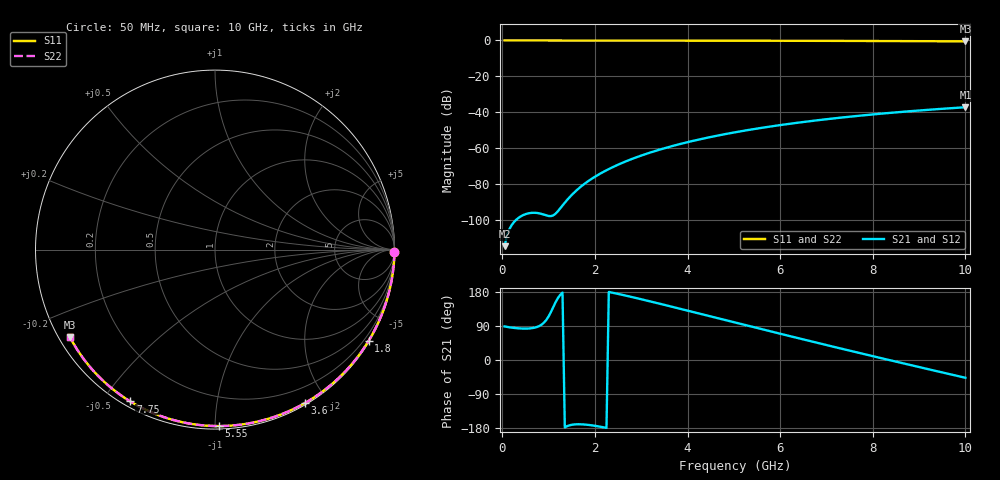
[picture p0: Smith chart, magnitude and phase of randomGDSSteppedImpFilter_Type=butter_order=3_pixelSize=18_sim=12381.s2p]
! freq	dB(S11)	phase(S11)	dB(S12)	phase(S12)
!  dB(S21)	phase(S21)	dB(S22)	phase(S22)
!S-par simulation data
#  GHz  S  DB  R 50
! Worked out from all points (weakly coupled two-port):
!   200 points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, 50 MHz to 10 GHz, reference 50 ohm
!   highest |S21| = -37.19 dB at 10 GHz (marker M1); lowest = -114.5 dB at 50 MHz (marker M2)
!   lowest |S11| = -0.5 dB at 10 GHz (marker M3), VSWR 34.68, Z = 1.55 - j13.9 ohm
!   |S11| at or under -10 dB: nowhere
!   |S22| runs from -0.5 to 0.0 dB; largest |S21 - S12| = 0
!   S11 on the Smith chart (normalised r, x): 50 MHz: open; 1.8 GHz: 0.03, -3.65; 3.6 GHz: 0.02, -1.74; 5.55 GHz: 0.02, -1.02; 7.75 GHz: 0.02, -0.59; 10 GHz: 0.03, -0.28
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0.05  -0.00 -0.9  -114.55 88.6  -114.55 88.6  -0.00 -0.9
0.45  -0.01 -7.8  -97.26 82.9  -97.26 82.9  -0.01 -7.8
0.9  -0.02 -15.5  -97.01 98.6  -97.01 98.6  -0.02 -15.5
1.3  -0.03 -22.2  -91.92 177.9  -91.92 177.9  -0.03 -22.2
1.75  -0.04 -29.8  -80.32 -170.0  -80.32 -170.0  -0.04 -29.8
1.8  -0.04 -30.6  -79.35 -170.5  -79.35 -170.5  -0.04 -30.6
1.95  -0.04 -33.1  -76.70 -172.7  -76.70 -172.7  -0.04 -33.1
2.1  -0.05 -35.6  -74.37 -175.7  -74.37 -175.7  -0.05 -35.6
2.3  -0.05 -38.9  -71.61 179.6  -71.61 179.6  -0.05 -38.9
2.5  -0.05 -42.1  -69.18 174.5  -69.18 174.5  -0.05 -42.1
2.9  -0.06 -48.6  -65.02 163.3  -65.02 163.3  -0.06 -48.6
3.4  -0.07 -56.5  -60.77 148.5  -60.77 148.5  -0.07 -56.5
3.6  -0.08 -59.7  -59.30 142.5  -59.30 142.5  -0.08 -59.7
4.3  -0.10 -70.4  -54.85 121.1  -54.85 121.1  -0.10 -70.4
5.05  -0.13 -81.6  -51.02 98.2  -51.02 98.2  -0.13 -81.6
5.55  -0.15 -88.8  -48.86 83.0  -48.86 83.0  -0.15 -88.8
6.1  -0.17 -96.6  -46.77 66.3  -46.77 66.3  -0.17 -96.6
6.7  -0.20 -104.9  -44.76 48.3  -44.76 48.3  -0.20 -104.9
7.75  -0.28 -119.1  -41.81 17.4  -41.81 17.4  -0.28 -119.1
8.35  -0.33 -127.1  -40.38 -0.0  -40.38 -0.0  -0.33 -127.1
9.2  -0.41 -138.3  -38.61 -24.3  -38.61 -24.3  -0.41 -138.3
10  -0.50 -148.9  -37.19 -46.9  -37.19 -46.9  -0.50 -148.9
